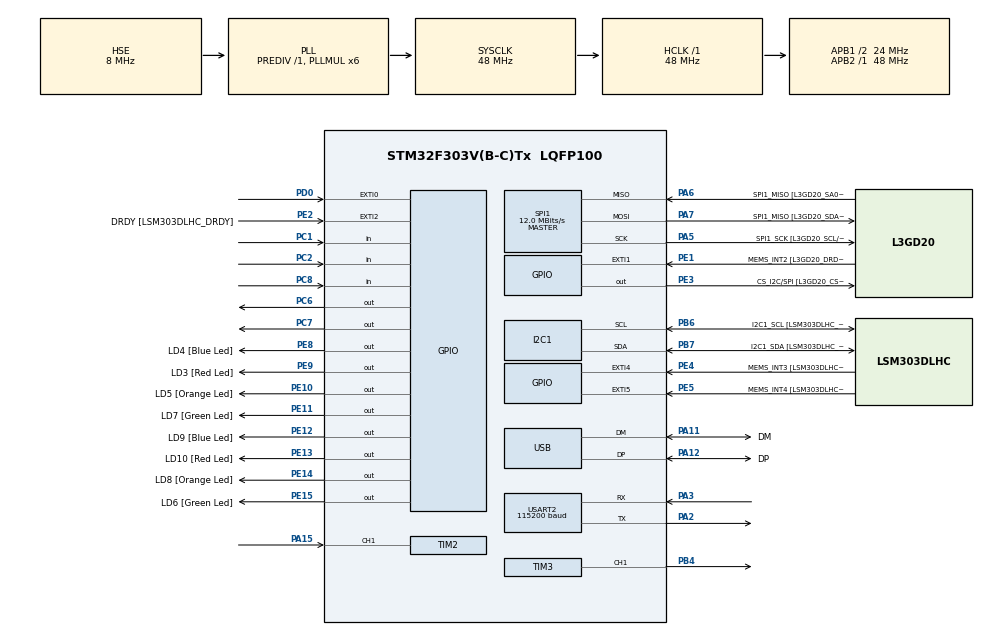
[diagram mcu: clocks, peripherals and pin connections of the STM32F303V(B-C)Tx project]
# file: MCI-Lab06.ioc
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I2C1.Timing=0x00201D2B
I2C1.Timing-I2C=0x2000090E
Mcu.Family=STM32F3
Mcu.Name=STM32F303V(B-C)Tx
Mcu.Package=LQFP100
NVIC.EXTI0_IRQn=true\:0\:0\:false\:false\:true\:true\:true\:true
NVIC.PriorityGroup=NVIC_PRIORITYGROUP_0
NVIC.TIM2_IRQn=true\:0\:0\:false\:false\:true\:true\:true\:true
NVIC.TIM3_IRQn=true\:0\:0\:false\:false\:true\:true\:true\:true
PA11.GPIO_Label=DM
PA11.Mode=Device
PA11.Signal=USB_DM
PA12.GPIO_Label=DP
PA12.Mode=Device
PA12.Signal=USB_DP
PA13.GPIO_Label=SWDIO
PA13.Mode=Serial_Wire
PA13.Signal=SYS_JTMS-SWDIO
PA14.GPIO_Label=SWCLK
PA14.Mode=Serial_Wire
PA14.Signal=SYS_JTCK-SWCLK
PA15.Signal=S_TIM2_CH1_ETR
PA2.Mode=Asynchronous
PA2.Signal=USART2_TX
PA3.Mode=Asynchronous
PA3.Signal=USART2_RX
PA5.GPIO_Label=SPI1_SCK [L3GD20_SCL/SPC]
PA5.Mode=Full_Duplex_Master
PA5.Signal=SPI1_SCK
PA6.GPIO_Label=SPI1_MISO [L3GD20_SA0/SDO]
PA6.Mode=Full_Duplex_Master
PA6.Signal=SPI1_MISO
PA7.GPIO_Label=SPI1_MISO [L3GD20_SDA/SDI/SDO]
PA7.Mode=Full_Duplex_Master
PA7.Signal=SPI1_MOSI
PB3.GPIO_Label=SWO
PB3.Signal=SYS_JTDO-TRACESWO
PB4.Signal=S_TIM3_CH1
PB6.GPIO_Label=I2C1_SCL [LSM303DLHC_SCL]
PB6.GPIO_Pu=GPIO_PULLUP
PB6.Mode=I2C
PB6.Signal=I2C1_SCL
PB7.GPIO_Label=I2C1_SDA [LSM303DLHC_SDA]
PB7.GPIO_Pu=GPIO_PULLUP
PB7.Mode=I2C
PB7.Signal=I2C1_SDA
PC1.Signal=GPIO_Input
PC14-OSC32_IN.GPIO_Label=OSC32_IN
PC14-OSC32_IN.Signal=RCC_OSC32_IN
PC15-OSC32_OUT.GPIO_Label=OSC32_OUT
PC15-OSC32_OUT.Signal=RCC_OSC32_OUT
PC2.Signal=GPIO_Input
PC6.Signal=GPIO_Output
PC7.Signal=GPIO_Output
PC8.Signal=GPIO_Input
PD0.Signal=GPXTI0
PE1.GPIO_Label=MEMS_INT2 [L3GD20_DRDY/INT2]
PE1.GPIO_ModeDefaultEXTI=GPIO_MODE_EVT_RISING
PE1.Signal=GPXTI1
PE10.GPIO_Label=LD5 [Orange Led]
PE10.Signal=GPIO_Output
PE11.GPIO_Label=LD7 [Green Led]
PE11.Signal=GPIO_Output
PE12.GPIO_Label=LD9 [Blue Led]
PE12.Signal=GPIO_Output
PE13.GPIO_Label=LD10 [Red Led]
PE13.Signal=GPIO_Output
PE14.GPIO_Label=LD8 [Orange Led]
PE14.Signal=GPIO_Output
PE15.GPIO_Label=LD6 [Green Led]
PE15.Signal=GPIO_Output
PE2.GPIO_Label=DRDY [LSM303DLHC_DRDY]
PE2.GPIO_ModeDefaultEXTI=GPIO_MODE_EVT_RISING
PE2.Signal=GPXTI2
PE3.GPIO_Label=CS_I2C/SPI [L3GD20_CS_I2C/SPI]
PE3.Signal=GPIO_Output
PE4.GPIO_Label=MEMS_INT3 [LSM303DLHC_INT1]
PE4.GPIO_ModeDefaultEXTI=GPIO_MODE_EVT_RISING
PE4.Signal=GPXTI4
PE5.GPIO_Label=MEMS_INT4 [LSM303DLHC_INT2]
PE5.GPIO_ModeDefaultEXTI=GPIO_MODE_EVT_RISING
PE5.Signal=GPXTI5
PE8.GPIO_Label=LD4 [Blue Led]
PE8.Signal=GPIO_Output
PE9.GPIO_Label=LD3 [Red Led]
PE9.Signal=GPIO_Output
PF0-OSC_IN.GPIO_Label=OSC_IN
PF0-OSC_IN.Mode=HSE-External-Clock-Source
PF0-OSC_IN.Signal=RCC_OSC_IN
PF1-OSC_OUT.GPIO_Label=OSC_OUT
PF1-OSC_OUT.Signal=RCC_OSC_OUT
ProjectManager.HeapSize=0x200
ProjectManager.StackSize=0x400
ProjectManager.TargetToolchain=CMake
RCC.AHBFreq_Value=48000000
RCC.APB1CLKDivider=RCC_HCLK_DIV2
RCC.APB1Freq_Value=24000000
RCC.APB1TimFreq_Value=48000000
RCC.APB2Freq_Value=48000000
RCC.APB2TimFreq_Value=48000000
RCC.CortexFreq_Value=48000000
RCC.HCLKFreq_Value=48000000
RCC.HSE_VALUE=8000000
RCC.HSI_VALUE=8000000
RCC.LSE_VALUE=32768
RCC.PLLMUL=RCC_PLL_MUL6
RCC.SYSCLKFreq_VALUE=48000000
RCC.SYSCLKSourceVirtual=RCC_SYSCLKSOURCE_PLLCLK
RCC.USBFreq_Value=48000000
SH.S_TIM2_CH1_ETR.0=TIM2_CH1,Input_Capture1_from_TI1
SH.S_TIM3_CH1.0=TIM3_CH1,PWM Generation1 CH1
SPI1.BaudRatePrescaler=SPI_BAUDRATEPRESCALER_4
SPI1.BaudRatePrescaler-Full_Duplex_Master=SPI_BAUDRATEPRESCALER_2
SPI1.CalculateBaudRate=12.0 MBits/s
SPI1.CalculateBaudRate-Full_Duplex_Master=24.0 MBits/s
SPI1.Direction=SPI_DIRECTION_2LINES
SPI1.Mode=SPI_MODE_MASTER
SPI1.Mode-Full_Duplex_Master=SPI_MODE_MASTER
SPI1.VirtualType=VM_MASTER
TIM2.Channel-Input_Capture1_from_TI1=TIM_CHANNEL_1
TIM2.Prescaler=47
TIM3.Channel-PWM\ Generation1\ CH1=TIM_CHANNEL_1
TIM3.Period=999
TIM3.Prescaler=47
USART2.BaudRate=115200
USART2.VirtualMode-Asynchronous=VM_ASYNC
VP_TIM2_VS_ClockSourceINT.Mode=Internal
VP_TIM3_VS_ClockSourceINT.Mode=Internal
board=STM32F3DISCOVERY

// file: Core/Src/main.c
/* USER CODE BEGIN Header */
/**
  ******************************************************************************
  * @file           : main.c
  * @brief          : Main program body
  ******************************************************************************
  * @attention
  *
  * Copyright (c) 2026 STMicroelectronics.
  * All rights reserved.
  *
  * This software is licensed under terms that can be found in the LICENSE file
  * in the root directory of this software component.
  * If no LICENSE file comes with this software, it is provided AS-IS.
  *
  ******************************************************************************
  */
/* USER CODE END Header */
/* USER CODE BEGIN Includes */
#include "main.h"

/* Private includes ----------------------------------------------------------*/
/* USER CODE BEGIN Includes */
#include <stdio.h>
#include <stdarg.h>
#include <string.h>
#include <stdint.h>
/* USER CODE END Includes */

/* USER CODE BEGIN PD */
#define PPR 330
/* USER CODE END PD */

I2C_HandleTypeDef hi2c1;

SPI_HandleTypeDef hspi1;

TIM_HandleTypeDef htim2;
TIM_HandleTypeDef htim3;

UART_HandleTypeDef huart2;

PCD_HandleTypeDef hpcd_USB_FS;

/* USER CODE BEGIN PV */
// // Task 1 variaables
#define SAMPLE_SIZE 10

uint32_t captured_periods[SAMPLE_SIZE];
uint8_t sample_index = 0;
uint8_t first_edge = 1;
uint32_t last_tick = 0;
uint8_t print_flag = 0;

// Task 2 variables
uint32_t ic_val1 = 0;
uint32_t ic_val2 = 0;
uint32_t ic_period = 0;
uint8_t ic_captured = 0;
float ic_frequency = 0;

/* USER CODE END PV */

void SystemClock_Config(void);
static void MX_GPIO_Init(void);
static void MX_I2C1_Init(void);
static void MX_SPI1_Init(void);
static void MX_TIM2_Init(void);
static void MX_TIM3_Init(void);
static void MX_USART2_UART_Init(void);
static void MX_USB_PCD_Init(void);
void Motor_A_SetSpeed(uint8_t speed_percent);

/* USER CODE BEGIN 0 */

void myPrintf(const char *fmt, ...) {
    char buffer[100];
    va_list args;
    va_start(args, fmt);
    vsnprintf(buffer, sizeof(buffer), fmt, args);
    va_end(args);
    HAL_UART_Transmit(&huart2, (uint8_t*)buffer, strlen(buffer), HAL_MAX_DELAY);
}
/* USER CODE END 0 */

int main(void)
{
    HAL_Init();
    SystemClock_Config();

    MX_GPIO_Init();
    MX_I2C1_Init();
    MX_SPI1_Init();
    MX_TIM2_Init();
    MX_TIM3_Init();
    MX_USART2_UART_Init();
    MX_USB_PCD_Init();

    /* USER CODE BEGIN 2 */

    // TIM2: free-running 1MHz counter (for IC and for polling timing)
    HAL_TIM_Base_Start(&htim2);
    HAL_TIM_IC_Start_IT(&htim2, TIM_CHANNEL_1);

    // TIM3 CH1: PWM on PB4 for Motor A speed
    HAL_TIM_PWM_Start(&htim3, TIM_CHANNEL_1);

    // Motor A forward at 60%
    HAL_GPIO_WritePin(GPIOC, GPIO_PIN_6, GPIO_PIN_SET);   // IN1 HIGH
    HAL_GPIO_WritePin(GPIOC, GPIO_PIN_7, GPIO_PIN_RESET); // IN2 LOW
    Motor_A_SetSpeed(100);

    /* USER CODE END 2 */

    while (1)
    { /* USER CODE END WHILE */

        /*TASK 1 */

      // HAL_Delay(100);

      // if (print_flag)
      // {
      //     print_flag = 0;

      //     uint32_t sum = 0;
      //     for (int i = 0; i < SAMPLE_SIZE; i++)
      //     {
      //         sum += captured_periods[i];
      //     }
      //     uint32_t avg_period = sum / SAMPLE_SIZE;

      //     float frequency = 1000000.0f / (float)avg_period;

      //     myPrintf("Frequency: %.2f Hz\r\n", frequency);
      // }

      /*TASK 2 */

      // if (ic_captured)
      // {
      //     ic_captured = 0;
      //     ic_frequency = 1000000.0f / (float)ic_period;
      //     myPrintf("IC Frequency: %.2f Hz\r\n", ic_frequency);
      // }

      /*TASK 3 */

      // Step 1: make sure we start from HIGH
      // while (HAL_GPIO_ReadPin(GPIOC, GPIO_PIN_8) == GPIO_PIN_RESET);

      // // Step 2: first falling edge
      // while (HAL_GPIO_ReadPin(GPIOC, GPIO_PIN_8) == GPIO_PIN_SET);

      // // Step 3: snapshot TIM2 counter
      // uint32_t t1 = __HAL_TIM_GET_COUNTER(&htim2);

      // // Step 4: wait HIGH again
      // while (HAL_GPIO_ReadPin(GPIOC, GPIO_PIN_8) == GPIO_PIN_RESET);

      // // Step 5: second falling edge
      // while (HAL_GPIO_ReadPin(GPIOC, GPIO_PIN_8) == GPIO_PIN_SET);

      // // Step 6: snapshot again and compute elapsed ticks
      // uint32_t t2    = __HAL_TIM_GET_COUNTER(&htim2);
      // uint32_t ticks = t2 - t1;   // safe even if TIM2 wraps (32-bit)

      // // Step 7: calculate and print
      // if (ticks > 0)
      // {
      //     float freq = 1000000.0f / (float)ticks;
      //     float rpm  = (60.0f * freq) / (float)PPR;
      //     myPrintf("Ticks: %lu | Freq: %.2f Hz | RPM: %.2f\r\n",
      //              ticks, freq, rpm);
      // }

      // HAL_Delay(200);

      /*TASK 4 */

      HAL_Delay(100);

      if (ic_captured)
      {
          ic_captured  = 0;
          ic_frequency = 1000000.0f / (float)ic_period;
          float rpm    = (60.0f * ic_frequency) / (float)PPR;
          myPrintf("IC Freq: %.2f Hz | RPM: %.2f\r\n", ic_frequency, rpm);
      }
    }
}

void SystemClock_Config(void)
{
  RCC_OscInitTypeDef RCC_OscInitStruct = {0};
  RCC_ClkInitTypeDef RCC_ClkInitStruct = {0};
  RCC_PeriphCLKInitTypeDef PeriphClkInit = {0};

  /** Initializes the RCC Oscillators according to the specified parameters
  * in the RCC_OscInitTypeDef structure.
  */
  RCC_OscInitStruct.OscillatorType = RCC_OSCILLATORTYPE_HSI|RCC_OSCILLATORTYPE_HSE;
  RCC_OscInitStruct.HSEState = RCC_HSE_BYPASS;
  RCC_OscInitStruct.HSEPredivValue = RCC_HSE_PREDIV_DIV1;
  RCC_OscInitStruct.HSIState = RCC_HSI_ON;
  RCC_OscInitStruct.HSICalibrationValue = RCC_HSICALIBRATION_DEFAULT;
  RCC_OscInitStruct.PLL.PLLState = RCC_PLL_ON;
  RCC_OscInitStruct.PLL.PLLSource = RCC_PLLSOURCE_HSE;
  RCC_OscInitStruct.PLL.PLLMUL = RCC_PLL_MUL6;
  if (HAL_RCC_OscConfig(&RCC_OscInitStruct) != HAL_OK)
  {
    Error_Handler();
  }

  /** Initializes the CPU, AHB and APB buses clocks
  */
  RCC_ClkInitStruct.ClockType = RCC_CLOCKTYPE_HCLK|RCC_CLOCKTYPE_SYSCLK
                              |RCC_CLOCKTYPE_PCLK1|RCC_CLOCKTYPE_PCLK2;
  RCC_ClkInitStruct.SYSCLKSource = RCC_SYSCLKSOURCE_PLLCLK;
  RCC_ClkInitStruct.AHBCLKDivider = RCC_SYSCLK_DIV1;
  RCC_ClkInitStruct.APB1CLKDivider = RCC_HCLK_DIV2;
  RCC_ClkInitStruct.APB2CLKDivider = RCC_HCLK_DIV1;

  if (HAL_RCC_ClockConfig(&RCC_ClkInitStruct, FLASH_LATENCY_1) != HAL_OK)
  {
    Error_Handler();
  }
  PeriphClkInit.PeriphClockSelection = RCC_PERIPHCLK_USB|RCC_PERIPHCLK_USART2
                              |RCC_PERIPHCLK_I2C1;
  PeriphClkInit.Usart2ClockSelection = RCC_USART2CLKSOURCE_PCLK1;
  PeriphClkInit.I2c1ClockSelection = RCC_I2C1CLKSOURCE_HSI;
  PeriphClkInit.USBClockSelection = RCC_USBCLKSOURCE_PLL;
  if (HAL_RCCEx_PeriphCLKConfig(&PeriphClkInit) != HAL_OK)
  {
    Error_Handler();
  }
}

static void MX_I2C1_Init(void)
{

  hi2c1.Instance = I2C1;
  hi2c1.Init.Timing = 0x00201D2B;
  hi2c1.Init.OwnAddress1 = 0;
  hi2c1.Init.AddressingMode = I2C_ADDRESSINGMODE_7BIT;
  hi2c1.Init.DualAddressMode = I2C_DUALADDRESS_DISABLE;
  hi2c1.Init.OwnAddress2 = 0;
  hi2c1.Init.OwnAddress2Masks = I2C_OA2_NOMASK;
  hi2c1.Init.GeneralCallMode = I2C_GENERALCALL_DISABLE;
  hi2c1.Init.NoStretchMode = I2C_NOSTRETCH_DISABLE;
  if (HAL_I2C_Init(&hi2c1) != HAL_OK)
  {
    Error_Handler();
  }

  /** Configure Analogue filter
  */
  if (HAL_I2CEx_ConfigAnalogFilter(&hi2c1, I2C_ANALOGFILTER_ENABLE) != HAL_OK)
  {
    Error_Handler();
  }

  /** Configure Digital filter
  */
  if (HAL_I2CEx_ConfigDigitalFilter(&hi2c1, 0) != HAL_OK)
  {
    Error_Handler();
  }

}

static void MX_SPI1_Init(void)
{

  /* SPI1 parameter configuration*/
  hspi1.Instance = SPI1;
  hspi1.Init.Mode = SPI_MODE_MASTER;
  hspi1.Init.Direction = SPI_DIRECTION_2LINES;
  hspi1.Init.DataSize = SPI_DATASIZE_4BIT;
  hspi1.Init.CLKPolarity = SPI_POLARITY_LOW;
  hspi1.Init.CLKPhase = SPI_PHASE_1EDGE;
  hspi1.Init.NSS = SPI_NSS_SOFT;
  hspi1.Init.BaudRatePrescaler = SPI_BAUDRATEPRESCALER_4;
  hspi1.Init.FirstBit = SPI_FIRSTBIT_MSB;
  hspi1.Init.TIMode = SPI_TIMODE_DISABLE;
  hspi1.Init.CRCCalculation = SPI_CRCCALCULATION_DISABLE;
  hspi1.Init.CRCPolynomial = 7;
  hspi1.Init.CRCLength = SPI_CRC_LENGTH_DATASIZE;
  hspi1.Init.NSSPMode = SPI_NSS_PULSE_ENABLE;
  if (HAL_SPI_Init(&hspi1) != HAL_OK)
  {
    Error_Handler();
  }

}

static void MX_TIM2_Init(void)
{

  TIM_ClockConfigTypeDef sClockSourceConfig = {0};
  TIM_MasterConfigTypeDef sMasterConfig = {0};
  TIM_IC_InitTypeDef sConfigIC = {0};

  htim2.Instance = TIM2;
  htim2.Init.Prescaler = 47;
  htim2.Init.CounterMode = TIM_COUNTERMODE_UP;
  htim2.Init.Period = 4294967295;
  htim2.Init.ClockDivision = TIM_CLOCKDIVISION_DIV1;
  htim2.Init.AutoReloadPreload = TIM_AUTORELOAD_PRELOAD_DISABLE;
  if (HAL_TIM_Base_Init(&htim2) != HAL_OK)
  {
    Error_Handler();
  }
  sClockSourceConfig.ClockSource = TIM_CLOCKSOURCE_INTERNAL;
  if (HAL_TIM_ConfigClockSource(&htim2, &sClockSourceConfig) != HAL_OK)
  {
    Error_Handler();
  }
  if (HAL_TIM_IC_Init(&htim2) != HAL_OK)
  {
    Error_Handler();
  }
  sMasterConfig.MasterOutputTrigger = TIM_TRGO_RESET;
  sMasterConfig.MasterSlaveMode = TIM_MASTERSLAVEMODE_DISABLE;
  if (HAL_TIMEx_MasterConfigSynchronization(&htim2, &sMasterConfig) != HAL_OK)
  {
    Error_Handler();
  }
  sConfigIC.ICPolarity = TIM_INPUTCHANNELPOLARITY_RISING;
  sConfigIC.ICSelection = TIM_ICSELECTION_DIRECTTI;
  sConfigIC.ICPrescaler = TIM_ICPSC_DIV1;
  sConfigIC.ICFilter = 0;
  if (HAL_TIM_IC_ConfigChannel(&htim2, &sConfigIC, TIM_CHANNEL_1) != HAL_OK)
  {
    Error_Handler();
  }

}

static void MX_TIM3_Init(void)
{

  TIM_ClockConfigTypeDef sClockSourceConfig = {0};
  TIM_MasterConfigTypeDef sMasterConfig = {0};
  TIM_OC_InitTypeDef sConfigOC = {0};

  htim3.Instance = TIM3;
  htim3.Init.Prescaler = 47;
  htim3.Init.CounterMode = TIM_COUNTERMODE_UP;
  htim3.Init.Period = 999;
  htim3.Init.ClockDivision = TIM_CLOCKDIVISION_DIV1;
  htim3.Init.AutoReloadPreload = TIM_AUTORELOAD_PRELOAD_DISABLE;
  if (HAL_TIM_Base_Init(&htim3) != HAL_OK)
  {
    Error_Handler();
  }
  sClockSourceConfig.ClockSource = TIM_CLOCKSOURCE_INTERNAL;
  if (HAL_TIM_ConfigClockSource(&htim3, &sClockSourceConfig) != HAL_OK)
  {
    Error_Handler();
  }
  if (HAL_TIM_PWM_Init(&htim3) != HAL_OK)
  {
    Error_Handler();
  }
  sMasterConfig.MasterOutputTrigger = TIM_TRGO_RESET;
  sMasterConfig.MasterSlaveMode = TIM_MASTERSLAVEMODE_DISABLE;
  if (HAL_TIMEx_MasterConfigSynchronization(&htim3, &sMasterConfig) != HAL_OK)
  {
    Error_Handler();
  }
  sConfigOC.OCMode = TIM_OCMODE_PWM1;
  sConfigOC.Pulse = 0;
  sConfigOC.OCPolarity = TIM_OCPOLARITY_HIGH;
  sConfigOC.OCFastMode = TIM_OCFAST_DISABLE;
  if (HAL_TIM_PWM_ConfigChannel(&htim3, &sConfigOC, TIM_CHANNEL_1) != HAL_OK)
  {
    Error_Handler();
  }
  HAL_TIM_MspPostInit(&htim3);

}

static void MX_USART2_UART_Init(void)
{

  huart2.Instance = USART2;
  huart2.Init.BaudRate = 115200;
  huart2.Init.WordLength = UART_WORDLENGTH_8B;
  huart2.Init.StopBits = UART_STOPBITS_1;
  huart2.Init.Parity = UART_PARITY_NONE;
  huart2.Init.Mode = UART_MODE_TX_RX;
  huart2.Init.HwFlowCtl = UART_HWCONTROL_NONE;
  huart2.Init.OverSampling = UART_OVERSAMPLING_16;
  huart2.Init.OneBitSampling = UART_ONE_BIT_SAMPLE_DISABLE;
  huart2.AdvancedInit.AdvFeatureInit = UART_ADVFEATURE_NO_INIT;
  if (HAL_UART_Init(&huart2) != HAL_OK)
  {
    Error_Handler();
  }

}

static void MX_USB_PCD_Init(void)
{

  hpcd_USB_FS.Instance = USB;
  hpcd_USB_FS.Init.dev_endpoints = 8;
  hpcd_USB_FS.Init.speed = PCD_SPEED_FULL;
  hpcd_USB_FS.Init.phy_itface = PCD_PHY_EMBEDDED;
  hpcd_USB_FS.Init.low_power_enable = DISABLE;
  hpcd_USB_FS.Init.battery_charging_enable = DISABLE;
  if (HAL_PCD_Init(&hpcd_USB_FS) != HAL_OK)
  {
    Error_Handler();
  }

}

static void MX_GPIO_Init(void)
{
  GPIO_InitTypeDef GPIO_InitStruct = {0};

  /* GPIO Ports Clock Enable */
  __HAL_RCC_GPIOE_CLK_ENABLE();
  __HAL_RCC_GPIOC_CLK_ENABLE();
  __HAL_RCC_GPIOF_CLK_ENABLE();
  __HAL_RCC_GPIOA_CLK_ENABLE();
  __HAL_RCC_GPIOD_CLK_ENABLE();
  __HAL_RCC_GPIOB_CLK_ENABLE();

  /*Configure GPIO pin Output Level */
  HAL_GPIO_WritePin(GPIOE, CS_I2C_SPI_Pin|LD4_Pin|LD3_Pin|LD5_Pin
                          |LD7_Pin|LD9_Pin|LD10_Pin|LD8_Pin
                          |LD6_Pin, GPIO_PIN_RESET);

  /*Configure GPIO pin Output Level */
  HAL_GPIO_WritePin(GPIOC, GPIO_PIN_6|GPIO_PIN_7, GPIO_PIN_RESET);

  /*Configure GPIO pins : DRDY_Pin MEMS_INT3_Pin MEMS_INT4_Pin MEMS_INT2_Pin */
  GPIO_InitStruct.Pin = DRDY_Pin|MEMS_INT3_Pin|MEMS_INT4_Pin|MEMS_INT2_Pin;
  GPIO_InitStruct.Mode = GPIO_MODE_EVT_RISING;
  GPIO_InitStruct.Pull = GPIO_NOPULL;
  HAL_GPIO_Init(GPIOE, &GPIO_InitStruct);

  /*Configure GPIO pins : CS_I2C_SPI_Pin LD4_Pin LD3_Pin LD5_Pin
                           LD7_Pin LD9_Pin LD10_Pin LD8_Pin
                           LD6_Pin */
  GPIO_InitStruct.Pin = CS_I2C_SPI_Pin|LD4_Pin|LD3_Pin|LD5_Pin
                          |LD7_Pin|LD9_Pin|LD10_Pin|LD8_Pin
                          |LD6_Pin;
  GPIO_InitStruct.Mode = GPIO_MODE_OUTPUT_PP;
  GPIO_InitStruct.Pull = GPIO_NOPULL;
  GPIO_InitStruct.Speed = GPIO_SPEED_FREQ_LOW;
  HAL_GPIO_Init(GPIOE, &GPIO_InitStruct);

  /*Configure GPIO pins : PC1 PC2 PC8 */
  GPIO_InitStruct.Pin = GPIO_PIN_1|GPIO_PIN_2|GPIO_PIN_8;
  GPIO_InitStruct.Mode = GPIO_MODE_INPUT;
  GPIO_InitStruct.Pull = GPIO_NOPULL;
  HAL_GPIO_Init(GPIOC, &GPIO_InitStruct);

  /*Configure GPIO pins : PC6 PC7 */
  GPIO_InitStruct.Pin = GPIO_PIN_6|GPIO_PIN_7;
  GPIO_InitStruct.Mode = GPIO_MODE_OUTPUT_PP;
  GPIO_InitStruct.Pull = GPIO_NOPULL;
  GPIO_InitStruct.Speed = GPIO_SPEED_FREQ_LOW;
  HAL_GPIO_Init(GPIOC, &GPIO_InitStruct);

  /*Configure GPIO pin : PD0 */
  GPIO_InitStruct.Pin = GPIO_PIN_0;
  GPIO_InitStruct.Mode = GPIO_MODE_IT_RISING;
  GPIO_InitStruct.Pull = GPIO_NOPULL;
  HAL_GPIO_Init(GPIOD, &GPIO_InitStruct);

  /* EXTI interrupt init*/
  HAL_NVIC_SetPriority(EXTI0_IRQn, 0, 0);
  HAL_NVIC_EnableIRQ(EXTI0_IRQn);

}

/* USER CODE BEGIN 4 */
void HAL_TIM_IC_CaptureCallback(TIM_HandleTypeDef *htim)
{
    // Toggle the Blue LED (LD4 on PE8) or Red LED (LD3 on PE9)
    // Check your board's pinout for which LED is available.
    // STM32F3 Discovery usually has LEDs on PE8-PE15.
    HAL_GPIO_TogglePin(GPIOE, GPIO_PIN_8); // Toggle Blue LED

    if (htim->Instance == TIM2 && htim->Channel == HAL_TIM_ACTIVE_CHANNEL_1)
    {
        if (ic_val1 == 0)
        {
            ic_val1 = HAL_TIM_ReadCapturedValue(htim, TIM_CHANNEL_1);
        }
        else
        {
            ic_val2 = HAL_TIM_ReadCapturedValue(htim, TIM_CHANNEL_1);
            if (ic_val2 > ic_val1) // Basic protection against overflow
            {
                ic_period = ic_val2 - ic_val1;
                ic_val1 = ic_val2;
                ic_captured = 1;
            }
            else
            {
                ic_val1 = 0; // Reset if wrap-around happens weirdly
            }
        }
    }
}
void HAL_GPIO_EXTI_Callback(uint16_t GPIO_Pin)
{
    if (GPIO_Pin == GPIO_PIN_0)
    {
        uint32_t current_tick = __HAL_TIM_GET_COUNTER(&htim2);

        if (first_edge)
        {
            last_tick = current_tick;
            first_edge = 0;
        }
        else
        {
            uint32_t period = current_tick - last_tick;
            last_tick = current_tick;

            if (sample_index < SAMPLE_SIZE)
            {
                captured_periods[sample_index] = period;
                sample_index++;
            }

            if (sample_index >= SAMPLE_SIZE)
            {
                sample_index = 0;
                first_edge = 1;
                print_flag = 1;
            }
        }
    }
}

void Motor_A_SetSpeed(uint8_t speed_percent)
{
    if (speed_percent > 100) speed_percent = 100;
    uint16_t ccr = (speed_percent * 999) / 100;
    __HAL_TIM_SET_COMPARE(&htim3, TIM_CHANNEL_1, ccr);  // CH1 not CH4
}

/* USER CODE END 4 */

void Error_Handler(void)
{
  __disable_irq();
  while (1)
  {
  }
}
